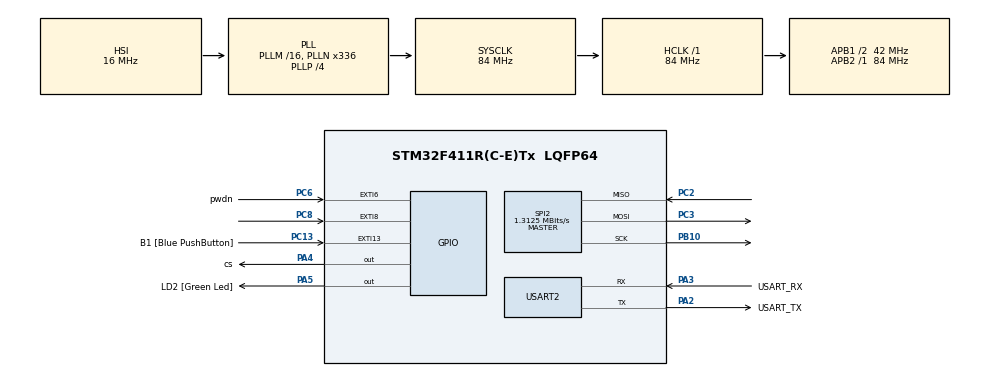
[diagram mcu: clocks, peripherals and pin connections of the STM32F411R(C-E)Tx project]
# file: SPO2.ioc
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Mcu.Family=STM32F4
Mcu.Name=STM32F411R(C-E)Tx
Mcu.Package=LQFP64
NVIC.EXTI9_5_IRQn=true\:0\:0\:false\:false\:true\:true\:true\:true
NVIC.PriorityGroup=NVIC_PRIORITYGROUP_0
PA13.GPIO_Label=TMS
PA13.Mode=Serial_Wire
PA13.Signal=SYS_JTMS-SWDIO
PA14.GPIO_Label=TCK
PA14.Mode=Serial_Wire
PA14.Signal=SYS_JTCK-SWCLK
PA2.GPIO_Label=USART_TX
PA2.Mode=Asynchronous
PA2.Signal=USART2_TX
PA3.GPIO_Label=USART_RX
PA3.Mode=Asynchronous
PA3.Signal=USART2_RX
PA4.GPIO_Label=cs
PA4.Signal=GPIO_Output
PA5.GPIO_Label=LD2 [Green Led]
PA5.Signal=GPIO_Output
PB10.Mode=Full_Duplex_Master
PB10.Signal=SPI2_SCK
PB3.GPIO_Label=SWO
PB3.Signal=SYS_JTDO-SWO
PC13-ANTI_TAMP.GPIO_Label=B1 [Blue PushButton]
PC13-ANTI_TAMP.GPIO_ModeDefaultEXTI=GPIO_MODE_IT_FALLING
PC13-ANTI_TAMP.Signal=GPXTI13
PC14-OSC32_IN.Mode=LSE-External-Oscillator
PC14-OSC32_IN.Signal=RCC_OSC32_IN
PC15-OSC32_OUT.Mode=LSE-External-Oscillator
PC15-OSC32_OUT.Signal=RCC_OSC32_OUT
PC2.Mode=Full_Duplex_Master
PC2.Signal=SPI2_MISO
PC3.Mode=Full_Duplex_Master
PC3.Signal=SPI2_MOSI
PC6.GPIO_Label=pwdn
PC6.Signal=GPXTI6
PC8.Signal=GPXTI8
PH0\ -\ OSC_IN.Mode=HSE-External-Clock-Source
PH0\ -\ OSC_IN.Signal=RCC_OSC_IN
PH1\ -\ OSC_OUT.Mode=HSE-External-Clock-Source
PH1\ -\ OSC_OUT.Signal=RCC_OSC_OUT
ProjectManager.HeapSize=0x200
ProjectManager.StackSize=0x400
ProjectManager.TargetToolchain=STM32CubeIDE
RCC.48MHZClocksFreq_Value=84000000
RCC.AHBFreq_Value=84000000
RCC.APB1CLKDivider=RCC_HCLK_DIV2
RCC.APB1Freq_Value=42000000
RCC.APB1TimFreq_Value=84000000
RCC.APB2Freq_Value=84000000
RCC.APB2TimFreq_Value=84000000
RCC.CortexFreq_Value=84000000
RCC.FLatency-AdvancedSettings=FLASH_LATENCY_2
RCC.HCLKFreq_Value=84000000
RCC.HSE_VALUE=8000000
RCC.HSI_VALUE=16000000
RCC.PLLN=336
RCC.PLLP=RCC_PLLP_DIV4
RCC.SYSCLKFreq_VALUE=84000000
RCC.SYSCLKSource=RCC_SYSCLKSOURCE_PLLCLK
RCC.VCOOutputFreq_Value=336000000
SPI2.BaudRatePrescaler=SPI_BAUDRATEPRESCALER_32
SPI2.CLKPhase=SPI_PHASE_1EDGE
SPI2.CLKPolarity=SPI_POLARITY_LOW
SPI2.CalculateBaudRate=1.3125 MBits/s
SPI2.Direction=SPI_DIRECTION_2LINES
SPI2.Mode=SPI_MODE_MASTER
SPI2.VirtualType=VM_MASTER
USART2.VirtualMode=VM_ASYNC
board=NUCLEO-F411RE

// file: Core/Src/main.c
/* USER CODE BEGIN Header */
/**
  ******************************************************************************
  * @file           : main.c
  * @brief          : Main program body
  ******************************************************************************
  * @attention
  *
  * Copyright (c) 2025 STMicroelectronics.
  * All rights reserved.
  *
  * This software is licensed under terms that can be found in the LICENSE file
  * in the root directory of this software component.
  * If no LICENSE file comes with this software, it is provided AS-IS.
  *
  ******************************************************************************
  */
/* USER CODE END Header */
#include "main.h"

/* USER CODE BEGIN Includes */
#include "AFE4490.h"
#include <stdio.h>
#include<stdbool.h>
/* USER CODE END Includes */

SPI_HandleTypeDef hspi2;

UART_HandleTypeDef huart2;

/* USER CODE BEGIN PV */
//small test
/* USER CODE END PV */

void SystemClock_Config(void);
static void MX_GPIO_Init(void);
static void MX_USART2_UART_Init(void);
static void MX_SPI2_Init(void);
/* USER CODE BEGIN PFP */
#define PUTCHAR_PROTOTYPE int __io_putchar(int ch)

/* USER CODE END PFP */

/* USER CODE BEGIN 0 */
afe44xx_data afe44xx_raw_data;
bool isInit = 0 ;
/* USER CODE END 0 */

int main(void)
{

  /* MCU Configuration--------------------------------------------------------*/

  /* Reset of all peripherals, Initializes the Flash interface and the Systick. */
  HAL_Init();

  /* Configure the system clock */
  SystemClock_Config();

  /* Initialize all configured peripherals */
  MX_GPIO_Init();
  MX_USART2_UART_Init();
  MX_SPI2_Init();
  /* USER CODE BEGIN 2 */
  printf("Starting AFE44XX initialization...\r\n");
  AFE44XX_Init();
  printf("AFE44XX initialization complete.\r\n");
  isInit =1 ;
  /* USER CODE END 2 */

  /* Infinite loop */
  while (1)
  {

    /* USER CODE BEGIN 3 */
      //printf("Hello World\n\r");
      //uint32_t led_control = AFE44XX_Read(&afe_config, LEDCNTRL);
     // printf("LEDCNTRL Register: 0x%08lX\n", led_control);
  }
  /* USER CODE END 3 */
}

void SystemClock_Config(void)
{
  RCC_OscInitTypeDef RCC_OscInitStruct = {0};
  RCC_ClkInitTypeDef RCC_ClkInitStruct = {0};

  /** Configure the main internal regulator output voltage
  */
  __HAL_RCC_PWR_CLK_ENABLE();
  __HAL_PWR_VOLTAGESCALING_CONFIG(PWR_REGULATOR_VOLTAGE_SCALE1);

  /** Initializes the RCC Oscillators according to the specified parameters
  * in the RCC_OscInitTypeDef structure.
  */
  RCC_OscInitStruct.OscillatorType = RCC_OSCILLATORTYPE_HSI;
  RCC_OscInitStruct.HSIState = RCC_HSI_ON;
  RCC_OscInitStruct.HSICalibrationValue = RCC_HSICALIBRATION_DEFAULT;
  RCC_OscInitStruct.PLL.PLLState = RCC_PLL_ON;
  RCC_OscInitStruct.PLL.PLLSource = RCC_PLLSOURCE_HSI;
  RCC_OscInitStruct.PLL.PLLM = 16;
  RCC_OscInitStruct.PLL.PLLN = 336;
  RCC_OscInitStruct.PLL.PLLP = RCC_PLLP_DIV4;
  RCC_OscInitStruct.PLL.PLLQ = 4;
  if (HAL_RCC_OscConfig(&RCC_OscInitStruct) != HAL_OK)
  {
    Error_Handler();
  }

  /** Initializes the CPU, AHB and APB buses clocks
  */
  RCC_ClkInitStruct.ClockType = RCC_CLOCKTYPE_HCLK|RCC_CLOCKTYPE_SYSCLK
                              |RCC_CLOCKTYPE_PCLK1|RCC_CLOCKTYPE_PCLK2;
  RCC_ClkInitStruct.SYSCLKSource = RCC_SYSCLKSOURCE_PLLCLK;
  RCC_ClkInitStruct.AHBCLKDivider = RCC_SYSCLK_DIV1;
  RCC_ClkInitStruct.APB1CLKDivider = RCC_HCLK_DIV2;
  RCC_ClkInitStruct.APB2CLKDivider = RCC_HCLK_DIV1;

  if (HAL_RCC_ClockConfig(&RCC_ClkInitStruct, FLASH_LATENCY_2) != HAL_OK)
  {
    Error_Handler();
  }
}

static void MX_SPI2_Init(void)
{

  /* SPI2 parameter configuration*/
  hspi2.Instance = SPI2;
  hspi2.Init.Mode = SPI_MODE_MASTER;
  hspi2.Init.Direction = SPI_DIRECTION_2LINES;
  hspi2.Init.DataSize = SPI_DATASIZE_8BIT;
  hspi2.Init.CLKPolarity = SPI_POLARITY_LOW;
  hspi2.Init.CLKPhase = SPI_PHASE_1EDGE;
  hspi2.Init.NSS = SPI_NSS_SOFT;
  hspi2.Init.BaudRatePrescaler = SPI_BAUDRATEPRESCALER_32;
  hspi2.Init.FirstBit = SPI_FIRSTBIT_MSB;
  hspi2.Init.TIMode = SPI_TIMODE_DISABLE;
  hspi2.Init.CRCCalculation = SPI_CRCCALCULATION_DISABLE;
  hspi2.Init.CRCPolynomial = 10;
  if (HAL_SPI_Init(&hspi2) != HAL_OK)
  {
    Error_Handler();
  }

}

static void MX_USART2_UART_Init(void)
{

  huart2.Instance = USART2;
  huart2.Init.BaudRate = 115200;
  huart2.Init.WordLength = UART_WORDLENGTH_8B;
  huart2.Init.StopBits = UART_STOPBITS_1;
  huart2.Init.Parity = UART_PARITY_NONE;
  huart2.Init.Mode = UART_MODE_TX_RX;
  huart2.Init.HwFlowCtl = UART_HWCONTROL_NONE;
  huart2.Init.OverSampling = UART_OVERSAMPLING_16;
  if (HAL_UART_Init(&huart2) != HAL_OK)
  {
    Error_Handler();
  }

}

static void MX_GPIO_Init(void)
{
  GPIO_InitTypeDef GPIO_InitStruct = {0};

  /* GPIO Ports Clock Enable */
  __HAL_RCC_GPIOC_CLK_ENABLE();
  __HAL_RCC_GPIOH_CLK_ENABLE();
  __HAL_RCC_GPIOA_CLK_ENABLE();
  __HAL_RCC_GPIOB_CLK_ENABLE();

  /*Configure GPIO pin Output Level */
  HAL_GPIO_WritePin(GPIOA, cs_Pin|LD2_Pin, GPIO_PIN_RESET);

  /*Configure GPIO pin : B1_Pin */
  GPIO_InitStruct.Pin = B1_Pin;
  GPIO_InitStruct.Mode = GPIO_MODE_IT_FALLING;
  GPIO_InitStruct.Pull = GPIO_NOPULL;
  HAL_GPIO_Init(B1_GPIO_Port, &GPIO_InitStruct);

  /*Configure GPIO pins : cs_Pin LD2_Pin */
  GPIO_InitStruct.Pin = cs_Pin|LD2_Pin;
  GPIO_InitStruct.Mode = GPIO_MODE_OUTPUT_PP;
  GPIO_InitStruct.Pull = GPIO_NOPULL;
  GPIO_InitStruct.Speed = GPIO_SPEED_FREQ_LOW;
  HAL_GPIO_Init(GPIOA, &GPIO_InitStruct);

  /*Configure GPIO pins : pwdn_Pin PC8 */
  GPIO_InitStruct.Pin = pwdn_Pin|GPIO_PIN_8;
  GPIO_InitStruct.Mode = GPIO_MODE_IT_RISING;
  GPIO_InitStruct.Pull = GPIO_NOPULL;
  HAL_GPIO_Init(GPIOC, &GPIO_InitStruct);

  /* EXTI interrupt init*/
  HAL_NVIC_SetPriority(EXTI9_5_IRQn, 0, 0);
  HAL_NVIC_EnableIRQ(EXTI9_5_IRQn);

}

/* USER CODE BEGIN 4 */
PUTCHAR_PROTOTYPE
{
  /* Place your implementation of fputc here */
  /* e.g. write a character to the USART1 and Loop until the end of transmission */
  HAL_UART_Transmit(&huart2, (uint8_t *)&ch, 1, 0xFFFF);

  return ch;
}
void HAL_GPIO_EXTI_Callback(uint16_t GPIO_Pin)
{
  if(GPIO_Pin == GPIO_PIN_8 && isInit) {
	  get_AFE44XX_Data(&afe44xx_raw_data);
  } else {
      __NOP();
  }
}
/* USER CODE END 4 */

void Error_Handler(void)
{
  __disable_irq();
  while (1)
  {
  }
}
